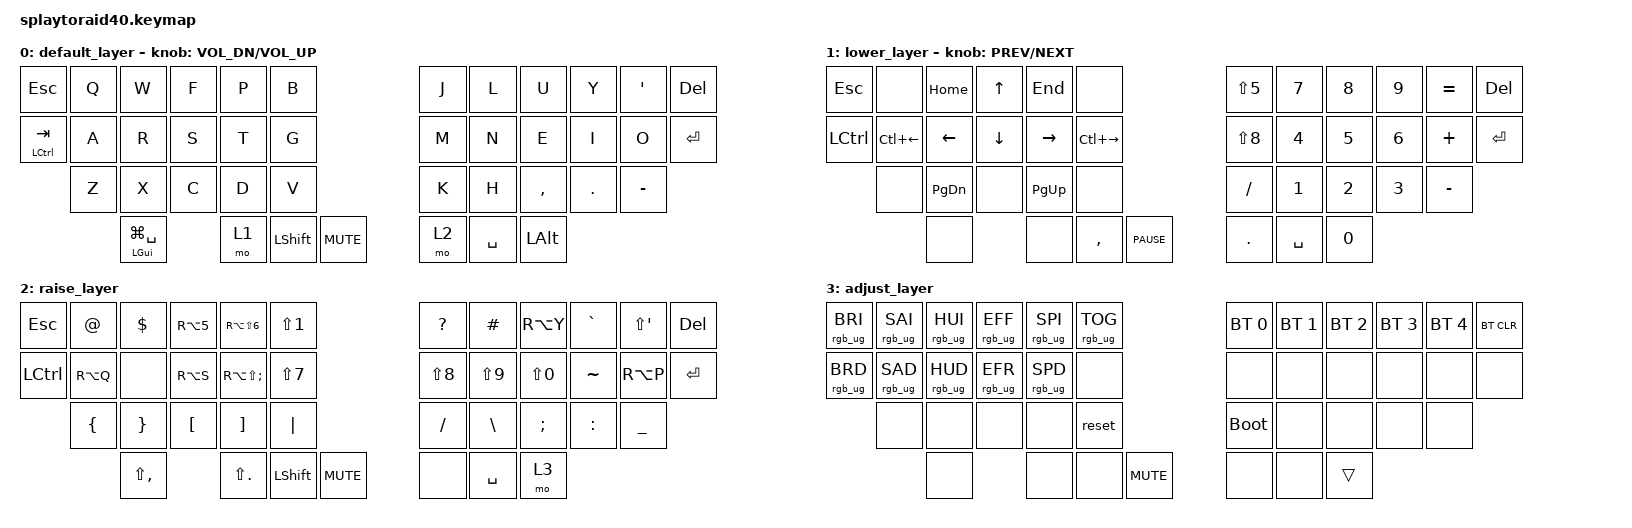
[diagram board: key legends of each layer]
/*
 * Copyright (c) 2021 The ZMK Contributors
 *
 * SPDX-License-Identifier: MIT
 */

#include <behaviors.dtsi>
#include <dt-bindings/zmk/keys.h>
#include <dt-bindings/zmk/bt.h>
#include <dt-bindings/zmk/rgb.h>
#include <dt-bindings/zmk/outputs.h>

#define nubs NON_US_BSLH
#define sqot SINGLE_QUOTE

&mt     {
        retro-tap;
         };

&sl     {
         release-after-ms = <150>;
         };

//&kscan {
//         debounce-period = <10>;
//        };

/ {
        combos {
                compatible = "zmk,combos";
                combo_bksp {
                        timeout-ms = <30>;
                        key-positions = <19 20>;
                        bindings = <&kp BACKSPACE>;
                };
                combo_backwards_del {
                        timeout-ms = <45>;
                        key-positions = <19 20 21>;
                        bindings = <&kp LC(BACKSPACE)>;
                };
                combo_capslock {
                        timeout-ms = <50>;
                        key-positions = <16 19>;
                        bindings = <&kp CAPSLOCK>;
                };
                combo_tab {
                        timeout-ms = <50>;
                        key-positions = <15 16>;
                        bindings = <&kp TAB>;
                };
                combo_adj {
                        timeout-ms = <50>;
                        key-positions = <37 39>;
                        bindings = <&mo 4>;
                };
        };

        keymap {
                compatible = "zmk,keymap";

                default_layer {
//          -----------------------------------------               -----------------------------------------
// ---------|   Q   |   W   |   F   |   P   |   B   |     split     |   J   |   L   |   U   |   Y   |   '   |---------
// |  ESC   |----------------------------------------               ----------------------------------------|   DEL  |
// ---------|   A   |   R   |   S   |   T   |   G   |     split     |   M   |   N   |   E   |   I   |   O   |---------
// |  CTRL  |----------------------------------------               ----------------------------------------|   RET  |
// ---------|   Z   |   X   |   C   |   D   |   V   |     split     |   K   |   H   |   ,   |   .   |   -   |---------
//          -------------------------------------------------------------------------------------------------
//                          |  LGUI | LOWER | LSHFT |    ENC MUTE   | RAISE |  SPC  |  LALT |
//                          -----------------------------------------------------------------
      bindings = <
    &kp ESC       &kp Q  &kp W   &kp F    &kp P  &kp B     /*split*/    &kp J  &kp L   &kp U     &kp Y   &kp SQT &kp DEL
    &mt LCTRL TAB &kp A  &kp R   &kp S    &kp T  &kp G     /*split*/    &kp M  &kp N   &kp E     &kp I   &kp O   &kp RET
                  &kp Z  &kp X   &kp C    &kp D  &kp V     /*split*/    &kp K  &kp H   &kp COMMA &kp DOT &kp MINUS 
                       &mt LGUI LG(SPACE) &mo 1  &kp LSHFT  &kp C_MUTE  &mo 2  &kp SPACE &kp LALT

                        >;
                        sensor-bindings = <&inc_dec_kp C_VOL_DN C_VOL_UP>;
                };

                lower_layer {
//          -----------------------------------------               ----------------------------------------- 
// ---------|       |  HOME |   UP  |  END  |       |     split     |   %   |   7   |   8   |   9   |   =   |---------
// |  ESC   |----------------------------------------               ----------------------------------------|   DEL  |
// ---------| C LEFT|  LEFT | DOWN  | RIGHT |C RIGHT|     split     |   *   |   4   |   5   |   6   |   +   |---------
// |  CTRL  |----------------------------------------               ----------------------------------------|   RET  |
// ---------|       |  PGDN |       |  PGUP |       |     split     |   /   |   1   |   2   |   3   |   -   |---------
//          -------------------------------------------------------------------------------------------------
//                          |       |       |   ,   |   ENC PAUSE   |   .   |  SPC  |   0   |
//                          -----------------------------------------------------------------
      bindings = <
    &kp ESC   &none        &kp HOME  &kp UP   &kp END   &none          /*split*/    &kp LS(N5) &kp N7 &kp N8 &kp N9 &kp EQUAL  &kp DEL
    &kp LCTRL &kp LC(LEFT) &kp LEFT  &kp DOWN &kp RIGHT &kp LC(RIGHT)  /*split*/    &kp LS(N8) &kp N4 &kp N5 &kp N6 &kp PLUS   &kp RET
              &none        &kp PG_DN &none    &kp PG_UP &none          /*split*/    &kp SLASH  &kp N1 &kp N2 &kp N3 &kp MINUS 
                                     &none    &none     &kp COMMA     &kp C_PAUSE   &kp DOT    &kp SPACE &kp N0 

                        >;
                        sensor-bindings = <&inc_dec_kp C_PREV C_NEXT>;
                };

                raise_layer {
//          -----------------------------------------               -----------------------------------------
// ---------|   @   |   $   |   €   |   ^   |   !   |     split     |   ?   |   #   |   ü   |   `   |   "   |---------
// |  ESC   |----------------------------------------               ----------------------------------------|   DEL  |
// ---------|   ä   |       |   ß   |   °   |   &   |     split     |   *   |   (   |   )   |   ~   |   ö   |---------
// |  CTRL  |----------------------------------------               ----------------------------------------|   RET  |
// ---------|   {   |   }   |   [   |   ]   |   |   |     split     |   /   |   \   |   ;   |   :   |   _   |---------
//          -------------------------------------------------------------------------------------------------
//                          |   <   |   >   | LSHIFT|    ENC MUTE   |       |  SPC  | ADJUST|
//                          -----------------------------------------------------------------
      bindings = <
    &kp ESC   &kp AT    &kp DOLLAR &kp RA(N5)    &kp RA(LS(N6))   &kp LS(N1)   /*split*/   &kp QUESTION &kp HASH   &kp RA(Y)     &kp GRAVE  &kp LS(SQT) &kp DEL
    &kp LCTRL &kp RA(Q) &none      &kp RA(S)     &kp RA(LS(SEMI)) &kp LS(N7)   /*split*/   &kp LS(N8)   &kp LS(N9) &kp LS(N0)    &kp TILDE  &kp RA(P)   &kp RET
              &kp LBRC  &kp RBRC   &kp LBKT      &kp RBKT         &kp PIPE     /*split*/   &kp SLASH    &kp BSLH   &kp SEMICOLON &kp COLON  &kp UNDER 
                                   &kp LS(COMMA) &kp LS(DOT)      &kp LSHFT    &kp C_MUTE   &none        &kp SPACE  &mo 3

                        >;
                        
                };

                adjust_layer {
//          -----------------------------------------               -----------------------------------------
// ---------|  SAT+ |  HUE+ |  ANI+ |  SPI  |  TOG  |     split     |  BT1  |  BT2  |  BT3  |  BT4  |  BT5  |---------
// |  BRI+  |----------------------------------------               ----------------------------------------| BT CLR |
// ---------|  SAT- |  HUE- |  ANI+ |  SPD  |       |     split     |       |       |       |       |       |---------
// |  BRI-  |----------------------------------------               ----------------------------------------|        |
// ---------|       |       |       |       | RESET |     split     | BOOT  |       |       |       |       |---------
//          -------------------------------------------------------------------------------------------------
//                          |       |       |       |    ENC MUTE   |       |       |       |
//                          -----------------------------------------------------------------
      bindings = <
    &rgb_ug RGB_BRI &rgb_ug RGB_SAI &rgb_ug RGB_HUI &rgb_ug RGB_EFF &rgb_ug RGB_SPI &rgb_ug RGB_TOG  /*split*/  &bt BT_SEL 0 &bt BT_SEL 1 &bt BT_SEL 2 &bt BT_SEL 3 &bt BT_SEL 4 &bt BT_CLR
    &rgb_ug RGB_BRD &rgb_ug RGB_SAD &rgb_ug RGB_HUD &rgb_ug RGB_EFR &rgb_ug RGB_SPD &none            /*split*/  &none        &none        &none        &none        &none        &none
                    &none           &none           &none           &none           &reset           /*split*/  &bootloader  &none        &none        &none        &none
                                                    &none           &none           &none            &kp C_MUTE  &none        &none        &trans

                        >;

                };
        };
};
